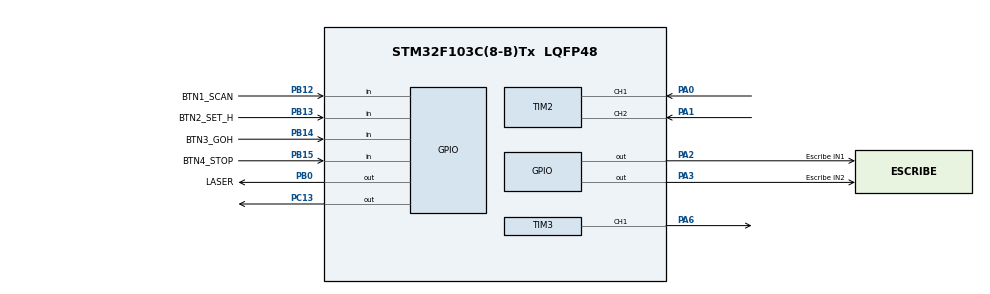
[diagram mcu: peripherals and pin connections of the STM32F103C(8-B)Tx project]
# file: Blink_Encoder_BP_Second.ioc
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Mcu.Family=STM32F1
Mcu.Name=STM32F103C(8-B)Tx
Mcu.Package=LQFP48
NVIC.PriorityGroup=NVIC_PRIORITYGROUP_4
PA0-WKUP.Signal=S_TIM2_CH1_ETR
PA1.Signal=S_TIM2_CH2
PA13.Mode=Serial_Wire
PA13.Signal=SYS_JTMS-SWDIO
PA14.Mode=Serial_Wire
PA14.Signal=SYS_JTCK-SWCLK
PA2.GPIO_Label=Escribe IN1
PA2.Signal=GPIO_Output
PA3.GPIO_Label=Escribe IN2
PA3.Signal=GPIO_Output
PA6.Signal=S_TIM3_CH1
PB0.GPIO_Label=LASER
PB0.Signal=GPIO_Output
PB12.GPIO_Label=BTN1_SCAN
PB12.GPIO_PuPd=GPIO_PULLUP
PB12.Signal=GPIO_Input
PB13.GPIO_Label=BTN2_SET_H
PB13.GPIO_PuPd=GPIO_PULLUP
PB13.Signal=GPIO_Input
PB14.GPIO_Label=BTN3_GOH
PB14.GPIO_PuPd=GPIO_PULLUP
PB14.Signal=GPIO_Input
PB15.GPIO_Label=BTN4_STOP
PB15.GPIO_PuPd=GPIO_PULLUP
PB15.Signal=GPIO_Input
PC13-TAMPER-RTC.PinState=GPIO_PIN_SET
PC13-TAMPER-RTC.Signal=GPIO_Output
PD0-OSC_IN.Mode=HSE-External-Oscillator
PD0-OSC_IN.Signal=RCC_OSC_IN
PD1-OSC_OUT.Mode=HSE-External-Oscillator
PD1-OSC_OUT.Signal=RCC_OSC_OUT
ProjectManager.HeapSize=0x200
ProjectManager.StackSize=0x400
ProjectManager.TargetToolchain=STM32CubeIDE
RCC.APB1Freq_Value=8000000
RCC.APB2Freq_Value=8000000
SH.S_TIM2_CH1_ETR.0=TIM2_CH1,Encoder_Interface
SH.S_TIM2_CH2.0=TIM2_CH2,Encoder_Interface
SH.S_TIM3_CH1.0=TIM3_CH1,PWM Generation1 CH1
TIM2.IC1Filter=6
TIM3.AutoReloadPreload=TIM_AUTORELOAD_PRELOAD_ENABLE
TIM3.Channel-PWM\ Generation1\ CH1=TIM_CHANNEL_1
TIM3.Period=999
TIM3.Prescaler=71
board=custom

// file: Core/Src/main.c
/* USER CODE BEGIN Header */
/**
  ******************************************************************************
  * @file           : main.c
  * @brief          : Main program body
  ******************************************************************************
  * @attention
  *
  * Copyright (c) 2026 STMicroelectronics.
  * All rights reserved.
  *
  * This software is licensed under terms that can be found in the LICENSE file
  * in the root directory of this software component.
  * If no LICENSE file comes with this software, it is provided AS-IS.
  *
  ******************************************************************************
  */
/* USER CODE END Header */
#include "main.h"
#include "tim.h"
#include "gpio.h"

/* USER CODE BEGIN Includes */
#include <stdlib.h>
/* USER CODE END Includes */

/* USER CODE BEGIN PTD */
typedef enum {
  STATE_IDLE = 0,
  STATE_SCANNING,
  STATE_HOMING_LOCKED,
  STATE_GO_TO_HOME,
  STATE_ERROR_LIMIT
} SystemState_t;

typedef enum {
  SCAN_PHASE_FORWARD = 0,   /* Girando hacia adelante (+2 vueltas) */
  SCAN_PHASE_PAUSE_FWD,     /* Pausa de 1s con motor frenado */
  SCAN_PHASE_REVERSE,       /* Girando hacia atrás (-2 vueltas) */
  SCAN_PHASE_PAUSE_REV      /* Pausa de 1s con motor frenado */
} ScanPhase_t;
/* USER CODE END PTD */

/* USER CODE BEGIN PD */
/* --- PARÁMETROS DEL ENCODER, TORNILLO SIN FIN Y ENGRANAJE --- */
#define ENCODER_PPR            30     /* Pulsos por revolución del eje del motor */
/* En modo TI1 (x2) se generan 2 cuentas en el timer por cada pulso */
#define TICKS_PER_MOTOR_REV    (ENCODER_PPR * 2) /* 60 cuentas por 1 vuelta del motor */

/* Transmisión: Tornillo sin fin (1 entrada) -> Engranaje de 40 dientes (Radio = 15 mm)
 * 1 vuelta del tornillo sin fin avanza 1 diente del engranaje (relación 40:1).
 * Por lo tanto, 1 vuelta del engranaje = 40 vueltas del motor = 2400 ticks. */
#define WORM_STARTS            1      /* Entradas del tornillo sin fin */
#define GEAR_TEETH             40     /* Dientes del engranaje conducido */
#define GEAR_RADIUS_MM         15     /* Radio del engranaje (centro a cabeza de diente): 15 mm */
#define TICKS_PER_GEAR_REV     ((TICKS_PER_MOTOR_REV * GEAR_TEETH) / WORM_STARTS) /* 2400 cuentas por vuelta de engranaje */

#define SWEEP_GEAR_REVS        2      /* 2 vueltas completas del ENGRANAJE hacia cada sentido */
#define SWEEP_TARGET_TICKS     (TICKS_PER_GEAR_REV * SWEEP_GEAR_REVS) /* 4800 ticks (80 vueltas de motor) */
#define SWEEP_PAUSE_MS         1000   /* 1 segundo de retardo antes de cambiar de sentido */
#define SWEEP_DUTY             700    /* Fuerza de barrido en 700 (70% sobre 999) */

/* --- IMPULSO DE ARRANQUE (KICK-START PARA VENCER FRICCIÓN ESTÁTICA) --- */
#define KICK_DUTY              950    /* Golpe inicial de fuerza (95% sobre 999) al salir del reposo */
#define KICK_TIME_MS           35     /* Duración del empujón inicial en milisegundos */

/* Límite de seguridad amplio para permitir las 80 vueltas de motor (4800 ticks) con holgura */
#define MAX_ENCODER_LIMIT      25000

/* --- PARÁMETROS DEL CONTROLADOR DE POSICIÓN (IR A HOME) --- */
#define POS_DEADBAND_TICKS     5      /* Tolerancia de llegada en pulsos */
#define POS_MIN_DUTY           550    /* Fuerza mínima para vencer fricción en retorno */
#define POS_MAX_DUTY           700    /* Velocidad máxima de retorno */
#define GO_HOME_TIMEOUT_MS     30000  /* 30 s de tiempo máximo para desandar hasta 2 vueltas de engranaje */

/* Inversión de signo si el encoder cuenta en sentido contrario al motor */
#define ENCODER_POLARITY       1      /* Usar 1 o -1 según el cableado */
/* USER CODE END PD */

/* USER CODE BEGIN PV */
/* Estado del sistema y variables de posición */
volatile SystemState_t current_state = STATE_IDLE;
volatile int32_t total_encoder_ticks = 0;   /* Posición acumulada en 32 bits (anti-desbordamiento) */
volatile int16_t last_timer_cnt = 0;        /* Última lectura directa del registro CNT (16 bits) */
volatile int32_t home_position = 0;         /* Posición de referencia fijada */

/* Variables para el barrido oscilante por PPR */
volatile ScanPhase_t scan_phase = SCAN_PHASE_FORWARD;
int32_t leg_start_ticks = 0;                /* Posición de inicio de cada tramo de giro */
uint32_t scan_pause_timer = 0;              /* Temporizador no bloqueante para el delay de 1s */

/* Variables para control inteligente y anti-embalamiento de Go to Home */
volatile int8_t motor_dir_sign = 1;         /* Signo de dirección de motor (+1 o -1 auto-calibrado) */
int32_t go_home_initial_error = 0;
uint32_t go_home_start_time = 0;

/* Seguimiento del sentido actual del motor para el impulso de arranque (kick-start) */
int8_t current_motor_dir = 0;               /* 0: frenado, 1: adelante, -1: atrás */

/* Estados de anti-rebote no bloqueante para los 4 pulsadores */
uint8_t btn1_last = GPIO_PIN_SET;
uint8_t btn2_last = GPIO_PIN_SET;
uint8_t btn3_last = GPIO_PIN_SET;
uint8_t btn4_last = GPIO_PIN_SET;
uint32_t btn1_debounce_time = 0;
uint32_t btn2_debounce_time = 0;
uint32_t btn3_debounce_time = 0;
uint32_t btn4_debounce_time = 0;
/* USER CODE END PV */

void SystemClock_Config(void);
/* USER CODE BEGIN PFP */
void Motor_SetSpeed(int16_t speed);
void Laser_Set(uint8_t state);
void Encoder_Update(void);
uint8_t Button_Pressed(GPIO_TypeDef* port, uint16_t pin, uint8_t *last_state, uint32_t *last_time);
/* USER CODE END PFP */

/* USER CODE BEGIN 0 */
/**
  * @brief  Ajusta el sentido de giro y la velocidad del motor DC con el puente H L298N.
  *         Incluye un "empujón" (kick-start) automático al arrancar desde reposo o cambiar
  *         de sentido para vencer la fricción estática del nuevo motor.
  * @param  speed: Valor entre -999 y +999 (el período de TIM3 es 999)
  *                speed > 0 : Giro adelante (IN1=1, IN2=0)
  *                speed < 0 : Giro atrás    (IN1=0, IN2=1)
  *                speed == 0: Freno activo  (IN1=0, IN2=0, PWM=0)
  */
void Motor_SetSpeed(int16_t speed)
{
  if (speed > 999) speed = 999;
  if (speed < -999) speed = -999;

  if (speed > 0)
  {
    HAL_GPIO_WritePin(GPIOA, Escribe_IN1_Pin, GPIO_PIN_SET);
    HAL_GPIO_WritePin(GPIOA, Escribe_IN2_Pin, GPIO_PIN_RESET);

    /* Si estaba detenido o girando al revés, dar golpe de arranque para vencer inercia */
    if (current_motor_dir != 1)
    {
      current_motor_dir = 1;
      if (speed < KICK_DUTY && KICK_TIME_MS > 0)
      {
        __HAL_TIM_SET_COMPARE(&htim3, TIM_CHANNEL_1, KICK_DUTY);
        HAL_Delay(KICK_TIME_MS);
      }
    }
    __HAL_TIM_SET_COMPARE(&htim3, TIM_CHANNEL_1, (uint32_t)speed);
  }
  else if (speed < 0)
  {
    HAL_GPIO_WritePin(GPIOA, Escribe_IN1_Pin, GPIO_PIN_RESET);
    HAL_GPIO_WritePin(GPIOA, Escribe_IN2_Pin, GPIO_PIN_SET);

    /* Si estaba detenido o girando al revés, dar golpe de arranque para vencer inercia */
    if (current_motor_dir != -1)
    {
      current_motor_dir = -1;
      if ((-speed) < KICK_DUTY && KICK_TIME_MS > 0)
      {
        __HAL_TIM_SET_COMPARE(&htim3, TIM_CHANNEL_1, KICK_DUTY);
        HAL_Delay(KICK_TIME_MS);
      }
    }
    __HAL_TIM_SET_COMPARE(&htim3, TIM_CHANNEL_1, (uint32_t)(-speed));
  }
  else
  {
    /* Freno activo */
    current_motor_dir = 0;
    HAL_GPIO_WritePin(GPIOA, Escribe_IN1_Pin, GPIO_PIN_RESET);
    HAL_GPIO_WritePin(GPIOA, Escribe_IN2_Pin, GPIO_PIN_RESET);
    __HAL_TIM_SET_COMPARE(&htim3, TIM_CHANNEL_1, 0);
  }
}

/**
  * @brief  Enciende o apaga el puntero láser montado en el eje
  * @param  state: 1 para encender, 0 para apagar
  */
void Laser_Set(uint8_t state)
{
  HAL_GPIO_WritePin(LASER_GPIO_Port, LASER_Pin, state ? GPIO_PIN_SET : GPIO_PIN_RESET);
}

/**
  * @brief  Calcula los pulsos acumulados en 32 bits a partir de los 16 bits de TIM2
  */
void Encoder_Update(void)
{
  int16_t current_cnt = (int16_t)__HAL_TIM_GET_COUNTER(&htim2);
  int16_t delta = current_cnt - last_timer_cnt;
  last_timer_cnt = current_cnt;
  total_encoder_ticks += (ENCODER_POLARITY * delta);
}

/**
  * @brief  Detector de pulsación (flanco de bajada) con anti-rebote no bloqueante
  * @retval 1 si se detectó pulsación, 0 en caso contrario
  */
uint8_t Button_Pressed(GPIO_TypeDef* port, uint16_t pin, uint8_t *last_state, uint32_t *last_time)
{
  uint8_t current = HAL_GPIO_ReadPin(port, pin);
  uint8_t triggered = 0;

  if (current != *last_state)
  {
    if ((HAL_GetTick() - *last_time) > 40) /* 40 ms de ventana anti-rebote */
    {
      *last_time = HAL_GetTick();
      if (current == GPIO_PIN_RESET && *last_state == GPIO_PIN_SET)
      {
        triggered = 1; /* Pulsado (nivel bajo) */
      }
      *last_state = current;
    }
  }
  return triggered;
}
/* USER CODE END 0 */

int main(void)
{

  /* MCU Configuration--------------------------------------------------------*/

  /* Reset of all peripherals, Initializes the Flash interface and the Systick. */
  HAL_Init();

  /* Configure the system clock */
  SystemClock_Config();

  /* Initialize all configured peripherals */
  MX_GPIO_Init();
  MX_TIM2_Init();
  MX_TIM3_Init();
  /* USER CODE BEGIN 2 */
  /* Iniciar PWM de velocidad de motor (TIM3 Canal 1 en PA6 -> ENA del L298N) */
  HAL_TIM_PWM_Start(&htim3, TIM_CHANNEL_1);

  /* Iniciar lectura de Encoder en TIM2 (PA0 y PA1) */
  HAL_TIM_Encoder_Start(&htim2, TIM_CHANNEL_ALL);

  /* Asegurar actuadores apagados al arrancar */
  Motor_SetSpeed(0);
  Laser_Set(0);

  /* Resetear contadores de posición y variables de referencia */
  __HAL_TIM_SET_COUNTER(&htim2, 0);
  last_timer_cnt = 0;
  total_encoder_ticks = 0;
  home_position = 0;
  current_state = STATE_IDLE;
  /* USER CODE END 2 */

  /* Infinite loop */
  /* USER CODE BEGIN WHILE */
  while (1)
  {
    /* 1. Actualizar el conteo continuo del encoder (32 bits anti-desbordamiento) */
    Encoder_Update();

    /* 2. Lectura no bloqueante con anti-rebote de los 4 pulsadores (activos en nivel bajo) */
    uint8_t btn1 = Button_Pressed(BTN1_SCAN_GPIO_Port, BTN1_SCAN_Pin, &btn1_last, &btn1_debounce_time);
    uint8_t btn2 = Button_Pressed(BTN2_SET_H_GPIO_Port, BTN2_SET_H_Pin, &btn2_last, &btn2_debounce_time);
    uint8_t btn3 = Button_Pressed(BTN3_GOH_GPIO_Port, BTN3_GOH_Pin, &btn3_last, &btn3_debounce_time);
    uint8_t btn4 = Button_Pressed(BTN4_STOP_GPIO_Port, BTN4_STOP_Pin, &btn4_last, &btn4_debounce_time);

    /* 3. PARADA DE EMERGENCIA / STOP (BTN4 tiene prioridad sobre cualquier estado) */
    if (btn4)
    {
      Motor_SetSpeed(0);
      Laser_Set(0);
      current_state = STATE_IDLE;
    }

    /* 4. VERIFICACIÓN DE LÍMITE DE SEGURIDAD (Protección contra corte de cables del láser) */
    if (current_state == STATE_SCANNING || current_state == STATE_GO_TO_HOME)
    {
      if (abs(total_encoder_ticks - home_position) >= MAX_ENCODER_LIMIT)
      {
        Motor_SetSpeed(0);
        Laser_Set(0);
        current_state = STATE_ERROR_LIMIT;
      }
    }

    /* 5. MÁQUINA DE ESTADOS */
    switch (current_state)
    {
      case STATE_IDLE:
        Motor_SetSpeed(0);
        Laser_Set(0);
        HAL_GPIO_WritePin(GPIOC, GPIO_PIN_13, GPIO_PIN_SET); /* LED apagado en reposo */

        /* BTN1: Iniciar barrido oscilante basado en vueltas (PPR) */
        if (btn1)
        {
          leg_start_ticks = total_encoder_ticks; /* Origen de este tramo */
          scan_phase = SCAN_PHASE_FORWARD;
          Laser_Set(1); /* Encender LED testigo en PB0 */
          Motor_SetSpeed(SWEEP_DUTY);
          current_state = STATE_SCANNING;
        }
        /* BTN2: Fijar Home en reposo si se desea calibrar aquí */
        else if (btn2)
        {
          total_encoder_ticks = 0;
          home_position = 0;
          __HAL_TIM_SET_COUNTER(&htim2, 0);
          last_timer_cnt = 0;
          current_state = STATE_HOMING_LOCKED;
        }
        /* BTN3: Regresar a la posición de Home memorizada */
        else if (btn3)
        {
          go_home_initial_error = abs(home_position - total_encoder_ticks);
          go_home_start_time = HAL_GetTick();
          current_state = STATE_GO_TO_HOME;
        }
        break;

      case STATE_SCANNING:
        Laser_Set(1); /* LED testigo encendido mientras escanea */
        HAL_GPIO_WritePin(GPIOC, GPIO_PIN_13, GPIO_PIN_RESET); /* LED PC13 encendido */

        /* Sub-máquina de estados de barrido por vueltas (PPR) */
        switch (scan_phase)
        {
          case SCAN_PHASE_FORWARD:
            Motor_SetSpeed(SWEEP_DUTY);
            /* Verificar si completó 2 vueltas relativas hacia adelante */
            if (abs(total_encoder_ticks - leg_start_ticks) >= SWEEP_TARGET_TICKS)
            {
              Motor_SetSpeed(0); /* Freno activo */
              scan_pause_timer = HAL_GetTick();
              scan_phase = SCAN_PHASE_PAUSE_FWD;
            }
            break;

          case SCAN_PHASE_PAUSE_FWD:
            Motor_SetSpeed(0); /* Freno durante el delay de 1 segundo */
            if (HAL_GetTick() - scan_pause_timer >= SWEEP_PAUSE_MS)
            {
              leg_start_ticks = total_encoder_ticks; /* Origen para el tramo en reversa */
              Motor_SetSpeed(-SWEEP_DUTY); /* Iniciar giro en reversa con fuerza */
              scan_phase = SCAN_PHASE_REVERSE;
            }
            break;

          case SCAN_PHASE_REVERSE:
            Motor_SetSpeed(-SWEEP_DUTY);
            /* Verificar si completó 2 vueltas relativas hacia atrás */
            if (abs(total_encoder_ticks - leg_start_ticks) >= SWEEP_TARGET_TICKS)
            {
              Motor_SetSpeed(0); /* Freno activo */
              scan_pause_timer = HAL_GetTick();
              scan_phase = SCAN_PHASE_PAUSE_REV;
            }
            break;

          case SCAN_PHASE_PAUSE_REV:
            Motor_SetSpeed(0); /* Freno durante el delay de 1 segundo */
            if (HAL_GetTick() - scan_pause_timer >= SWEEP_PAUSE_MS)
            {
              leg_start_ticks = total_encoder_ticks; /* Origen para el siguiente tramo adelante */
              Motor_SetSpeed(SWEEP_DUTY); /* Reiniciar giro hacia adelante */
              scan_phase = SCAN_PHASE_FORWARD;
            }
            break;
        }

        /* BTN2: Fijar Home (Simula el impacto del láser en el sensor óptico) */
        if (btn2)
        {
          Motor_SetSpeed(0);
          Laser_Set(0); /* Apaga LED testigo */

          /* Fijar el origen de coordenadas exactamente en este punto */
          total_encoder_ticks = 0;
          home_position = 0;
          __HAL_TIM_SET_COUNTER(&htim2, 0);
          last_timer_cnt = 0;

          current_state = STATE_HOMING_LOCKED;
        }
        break;

      case STATE_HOMING_LOCKED:
        /* Señalización visual: destello breve del LED integrado */
        Motor_SetSpeed(0);
        Laser_Set(0);
        HAL_GPIO_WritePin(GPIOC, GPIO_PIN_13, GPIO_PIN_RESET);
        HAL_Delay(150);
        HAL_GPIO_WritePin(GPIOC, GPIO_PIN_13, GPIO_PIN_SET);
        current_state = STATE_IDLE; /* Regresa a reposo con el cero memorizado */
        break;

      case STATE_GO_TO_HOME:
        Laser_Set(0); /* Láser apagado durante el reposicionamiento */
        HAL_GPIO_WritePin(GPIOC, GPIO_PIN_13, GPIO_PIN_RESET);

        {
          /* Error de posición respecto al origen fijado (0) */
          int32_t error = home_position - total_encoder_ticks;
          int32_t abs_err = abs(error);

          /* 1. Verificación de llegada dentro de la zona muerta */
          if (abs_err <= POS_DEADBAND_TICKS)
          {
            Motor_SetSpeed(0);
            current_state = STATE_IDLE; /* Posición alcanzada con precisión */
          }
          else
          {
            /* 2. Detección y auto-corrección de sentido invertido (anti-embalamiento):
             * Si el error crece más de 30 ticks en vez de achicarse, el motor está
             * girando en sentido opuesto al origen. Se invierte el signo de inmediato. */
            if (abs_err > (go_home_initial_error + 30))
            {
              motor_dir_sign = -motor_dir_sign;
              go_home_initial_error = abs_err;
            }

            /* 3. Timeout de seguridad: tiempo suficiente para desandar las 2 vueltas del engranaje */
            if (HAL_GetTick() - go_home_start_time > GO_HOME_TIMEOUT_MS)
            {
              Motor_SetSpeed(0);
              current_state = STATE_IDLE;
            }

            /* 4. Velocidad proporcional: POS_MIN_DUTY cerca, POS_MAX_DUTY si está más lejos */
            int16_t speed = POS_MIN_DUTY;
            if (abs_err > 40)
            {
              speed = POS_MAX_DUTY; /* Para trayectos largos */
            }

            /* 5. Comandar motor con corrección de signo */
            if (error > 0)
            {
              Motor_SetSpeed(motor_dir_sign * speed);
            }
            else
            {
              Motor_SetSpeed(-motor_dir_sign * speed);
            }
          }
        }
        break;

      case STATE_ERROR_LIMIT:
        Motor_SetSpeed(0);
        Laser_Set(0);
        /* Parpadeo continuo de advertencia */
        HAL_GPIO_TogglePin(GPIOC, GPIO_PIN_13);
        HAL_Delay(100);

        /* Salir del estado de error al presionar STOP (BTN4) o BTN1 */
        if (btn4 || btn1)
        {
          total_encoder_ticks = 0;
          home_position = 0;
          current_state = STATE_IDLE;
        }
        break;

      default:
        current_state = STATE_IDLE;
        break;
    }

    /* Pequeño retardo de 5 ms para temporización estable */
    HAL_Delay(5);

    /* USER CODE END WHILE */

  }
}

void SystemClock_Config(void)
{
  RCC_OscInitTypeDef RCC_OscInitStruct = {0};
  RCC_ClkInitTypeDef RCC_ClkInitStruct = {0};

  /** Initializes the RCC Oscillators according to the specified parameters
  * in the RCC_OscInitTypeDef structure.
  */
  RCC_OscInitStruct.OscillatorType = RCC_OSCILLATORTYPE_HSI;
  RCC_OscInitStruct.HSIState = RCC_HSI_ON;
  RCC_OscInitStruct.HSICalibrationValue = RCC_HSICALIBRATION_DEFAULT;
  RCC_OscInitStruct.PLL.PLLState = RCC_PLL_NONE;
  if (HAL_RCC_OscConfig(&RCC_OscInitStruct) != HAL_OK)
  {
    Error_Handler();
  }

  /** Initializes the CPU, AHB and APB buses clocks
  */
  RCC_ClkInitStruct.ClockType = RCC_CLOCKTYPE_HCLK|RCC_CLOCKTYPE_SYSCLK
                              |RCC_CLOCKTYPE_PCLK1|RCC_CLOCKTYPE_PCLK2;
  RCC_ClkInitStruct.SYSCLKSource = RCC_SYSCLKSOURCE_HSI;
  RCC_ClkInitStruct.AHBCLKDivider = RCC_SYSCLK_DIV1;
  RCC_ClkInitStruct.APB1CLKDivider = RCC_HCLK_DIV1;
  RCC_ClkInitStruct.APB2CLKDivider = RCC_HCLK_DIV1;

  if (HAL_RCC_ClockConfig(&RCC_ClkInitStruct, FLASH_LATENCY_0) != HAL_OK)
  {
    Error_Handler();
  }
}

void Error_Handler(void)
{
  __disable_irq();
  while (1)
  {
  }
}
